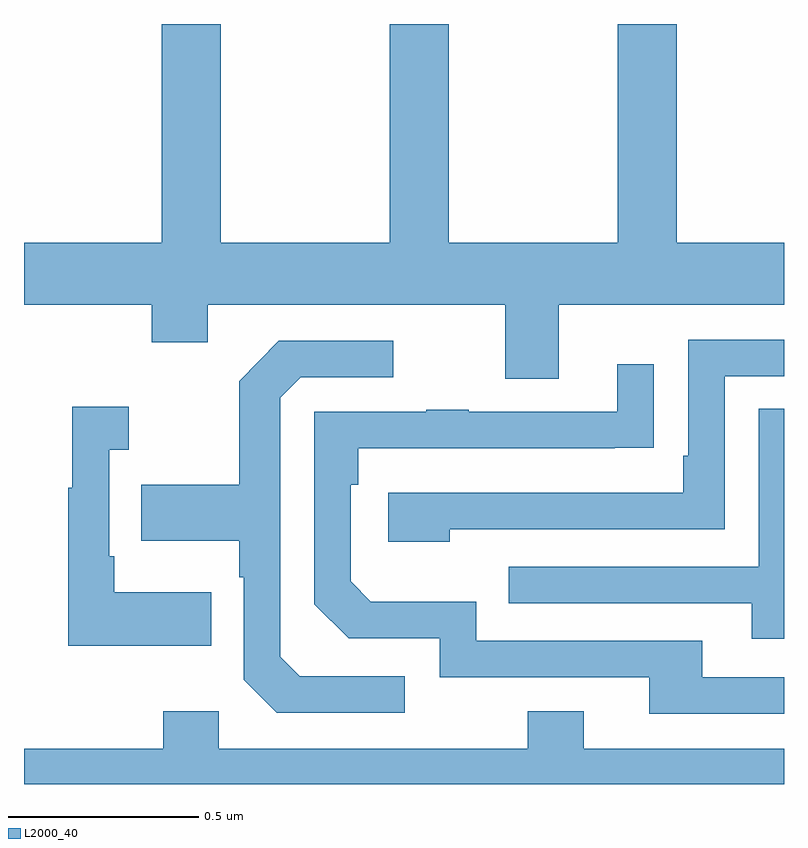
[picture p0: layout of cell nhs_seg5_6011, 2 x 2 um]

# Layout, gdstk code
import gdstk
lib = gdstk.Library(unit=1e-6, precision=1e-09)
def P(c, l, *ps):  # polygons
    for p in ps: c.add(gdstk.Polygon(p, *l))
L2000_40 = (2000, 40)

nhs_seg5_6011 = lib.new_cell('nhs_seg5_6011')
P(nhs_seg5_6011, L2000_40, [(191.407,890.06),(192,890.06),(192,890.224),(191.718,890.224),(191.718,890.799),(191.563,890.799),(191.563,890.224),(191.118,890.224),(191.118,890.799),(190.963,890.799),(190.963,890.224),(190.518,890.224),(190.518,890.799),(190.363,890.799),(190.363,890.224),(190,890.224),(190,890.06),(190.336,890.06),(190.336,889.961),(190.483,889.961),(190.483,890.06),(191.267,890.06),(191.267,889.866),(191.407,889.866)],
  [(191.12,889.47),(191.844,889.47),(191.844,889.872),(192,889.872),(192,889.968),(191.748,889.968),(191.748,889.663),(191.735,889.663),(191.735,889.566),(190.959,889.566),(190.959,889.436),(191.12,889.436)],
  [(191.002,889.083),(190.725,889.083),(190.674,889.134),(190.674,889.815),(190.728,889.869),(190.972,889.869),(190.972,889.965),(190.671,889.965),(190.566,889.859),(190.566,889.587),(190.309,889.587),(190.309,889.439),(190.566,889.439),(190.566,889.343),(190.578,889.343),(190.578,889.074),(190.665,888.987),(191.002,888.987)],
  [(192,889.08),(191.785,889.08),(191.785,889.176),(191.19,889.176),(191.19,889.279),(190.913,889.279),(190.86,889.332),(190.86,889.586),(190.88,889.586),(190.88,889.683),(191.555,889.683),(191.555,889.684),(191.657,889.684),(191.657,889.903),(191.561,889.903),(191.561,889.779),(191.171,889.779),(191.171,889.784),(191.059,889.784),(191.059,889.779),(190.764,889.779),(190.764,889.272),(190.854,889.182),(191.094,889.182),(191.094,889.08),(191.645,889.08),(191.645,888.984),(192,888.984)],
  [(190.493,889.303),(190.237,889.303),(190.237,889.399),(190.224,889.399),(190.224,889.679),(190.276,889.679),(190.276,889.792),(190.127,889.792),(190.127,889.579),(190.116,889.579),(190.116,889.163),(190.493,889.163)],
  [(192,889.787),(191.934,889.787),(191.934,889.371),(191.275,889.371),(191.275,889.275),(191.915,889.275),(191.915,889.181),(192,889.181)],
  [(192,888.892),(191.473,888.892),(191.473,888.991),(191.326,888.991),(191.326,888.892),(190.512,888.892),(190.512,888.991),(190.366,888.991),(190.366,888.892),(190,888.892),(190,888.799),(192,888.799)])

lib.write_gds('nhs_seg5_6011.gds')
